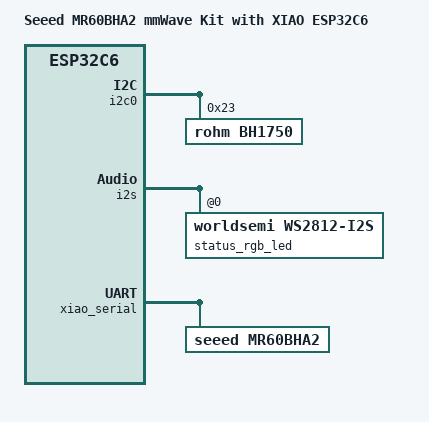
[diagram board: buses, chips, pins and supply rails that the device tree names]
/*
 * SPDX-FileCopyrightText: Copyright The Zephyr Project Contributors
 * SPDX-License-Identifier: Apache-2.0
 */

/dts-v1/;

#include "xiao_esp32c6_hpcore_common.dtsi"
#include <zephyr/dt-bindings/led/led.h>

/ {
	model = "Seeed MR60BHA2 mmWave Kit with XIAO ESP32C6";
	compatible = "seeed,mr60bha2-xiao-kit", "seeed,xiao-esp32c6";

	aliases {
		distance0 = &mr60bha2;
		led-strip = &status_rgb_led;
		light-sensor0 = &bh1750;
		prox-sensor0 = &mr60bha2;
		radar0 = &mr60bha2;
	};
};

&i2c0 {
	bh1750: light-sensor@23 {
		compatible = "rohm,bh1750";
		reg = <0x23>;
		status = "okay";
	};
};

&i2s_default {
	group1 {
		pinmux = <I2S_O_SD_GPIO1>;
	};
};

&i2s {
	status = "okay";
	pinctrl-0 = <&i2s_default>;
	pinctrl-names = "default";
	dmas = <&dma 3>;
	dma-names = "tx";

	status_rgb_led: ws2812@0 {
		compatible = "worldsemi,ws2812-i2s";
		reg = <0>;
		chain-length = <1>;
		color-mapping = <LED_COLOR_ID_GREEN
				 LED_COLOR_ID_RED
				 LED_COLOR_ID_BLUE>;
		reset-delay = <500>;
	};
};

&dma {
	status = "okay";
};

&xiao_serial {
	mr60bha2: radar {
		compatible = "seeed,mr60bha2";
		status = "okay";
	};
};
